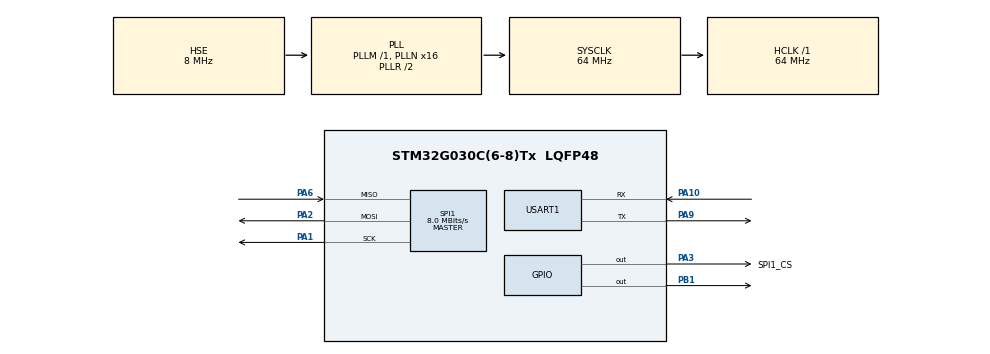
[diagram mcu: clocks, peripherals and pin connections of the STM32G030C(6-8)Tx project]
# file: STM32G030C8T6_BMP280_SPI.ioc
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Mcu.Family=STM32G0
Mcu.Name=STM32G030C(6-8)Tx
Mcu.Package=LQFP48
PA1.Mode=Full_Duplex_Master
PA1.Signal=SPI1_SCK
PA10.Mode=Asynchronous
PA10.Signal=USART1_RX
PA13.Mode=Serial_Wire
PA13.Signal=SYS_SWDIO
PA14-BOOT0.Mode=Serial_Wire
PA14-BOOT0.Signal=SYS_SWCLK
PA2.Mode=Full_Duplex_Master
PA2.Signal=SPI1_MOSI
PA3.GPIO_Label=SPI1_CS
PA3.GPIO_Speed=GPIO_SPEED_FREQ_HIGH
PA3.PinState=GPIO_PIN_RESET
PA3.Signal=GPIO_Output
PA6.Mode=Full_Duplex_Master
PA6.Signal=SPI1_MISO
PA9.Mode=Asynchronous
PA9.Signal=USART1_TX
PB1.PinState=GPIO_PIN_SET
PB1.Signal=GPIO_Output
PF0-OSC_IN\ (PF0).Mode=HSE-External-Oscillator
PF0-OSC_IN\ (PF0).Signal=RCC_OSC_IN
PF1-OSC_OUT\ (PF1).Mode=HSE-External-Oscillator
PF1-OSC_OUT\ (PF1).Signal=RCC_OSC_OUT
ProjectManager.HeapSize=0x200
ProjectManager.StackSize=0x400
ProjectManager.TargetToolchain=Makefile
RCC.ADCFreq_Value=64000000
RCC.AHBFreq_Value=64000000
RCC.CortexFreq_Value=64000000
RCC.EXTERNAL_CLOCK_VALUE=12288000
RCC.HCLKFreq_Value=64000000
RCC.HSE_VALUE=8000000
RCC.HSI_VALUE=16000000
RCC.LSE_VALUE=32768
RCC.PLLN=16
RCC.PLLSourceVirtual=RCC_PLLSOURCE_HSE
RCC.SYSCLKFreq_VALUE=64000000
RCC.SYSCLKSource=RCC_SYSCLKSOURCE_PLLCLK
RCC.VCOOutputFreq_Value=128000000
SPI1.BaudRatePrescaler=SPI_BAUDRATEPRESCALER_8
SPI1.CalculateBaudRate=8.0 MBits/s
SPI1.Direction=SPI_DIRECTION_2LINES
SPI1.Mode=SPI_MODE_MASTER
SPI1.VirtualType=VM_MASTER
USART1.VirtualMode-Asynchronous=VM_ASYNC
board=custom

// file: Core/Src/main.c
/* USER CODE BEGIN Header */
/**
  ******************************************************************************
  * @file           : main.c
  * @brief          : Main program body
  ******************************************************************************
  * @attention
  *
  * Copyright (c) 2023 STMicroelectronics.
  * All rights reserved.
  *
  * This software is licensed under terms that can be found in the LICENSE file
  * in the root directory of this software component.
  * If no LICENSE file comes with this software, it is provided AS-IS.
  *
  ******************************************************************************
  */
/* USER CODE END Header */
#include "main.h"
#include "spi.h"
#include "usart.h"
#include "gpio.h"

/* USER CODE BEGIN Includes */
#include <stdio.h>
#include <bmp280_spi.h>
/* USER CODE END Includes */

/* USER CODE BEGIN PV */
uint8_t BMP280_ID=0;
uint8_t InitStatus=0;
double Pressure=0,Temperature=0,Height=0;
uint8_t status=0;
uint8_t Ctrl_Meas=0;
uint8_t Configer=0;
int32_t PressOrg=0,TempOrg=0;
/* USER CODE END PV */

void SystemClock_Config(void);

int main(void)
{

  /* MCU Configuration--------------------------------------------------------*/

  /* Reset of all peripherals, Initializes the Flash interface and the Systick. */
  HAL_Init();

  /* Configure the system clock */
  SystemClock_Config();

  /* Initialize all configured peripherals */
  MX_GPIO_Init();
  MX_SPI1_Init();
  MX_USART1_UART_Init();
  /* USER CODE BEGIN 2 */
  HAL_Delay(20);
  InitStatus = BMP280_Init(); //初始化传感器

  if(InitStatus==0){ //回报初始化状态
    printf("Initiliazed Success\n");
  }else{
    printf("Initiliazed Failure, Error Code is %d\n",InitStatus);
  }
  HAL_Delay(100); //等待一下
  BMP280_ID=BMP280_GetID(); //获取芯片ID
  printf("BMP280 ID: 0x%x\n", BMP280_ID);//串口打印ID

  /* USER CODE END 2 */

  /* Infinite loop */
  /* USER CODE BEGIN WHILE */
  while (1)
  {
    Pressure=BMP280_Get_Pressure(); //获取气压
    Temperature=BMP280_Get_Temperature(); //获取温度
    Height=BMP280_Get_Height(Pressure,Temperature); //获取高度
    printf("Pressure:%.2fPa, Temperature:%.4fC, Height:%.2fm\r\n",Pressure,Temperature,Height); //打印气压以及温度和高度
    HAL_Delay(5);
    /* USER CODE END WHILE */

  }
}

void SystemClock_Config(void)
{
  RCC_OscInitTypeDef RCC_OscInitStruct = {0};
  RCC_ClkInitTypeDef RCC_ClkInitStruct = {0};

  /** Configure the main internal regulator output voltage
  */
  HAL_PWREx_ControlVoltageScaling(PWR_REGULATOR_VOLTAGE_SCALE1);

  /** Initializes the RCC Oscillators according to the specified parameters
  * in the RCC_OscInitTypeDef structure.
  */
  RCC_OscInitStruct.OscillatorType = RCC_OSCILLATORTYPE_HSE;
  RCC_OscInitStruct.HSEState = RCC_HSE_ON;
  RCC_OscInitStruct.PLL.PLLState = RCC_PLL_ON;
  RCC_OscInitStruct.PLL.PLLSource = RCC_PLLSOURCE_HSE;
  RCC_OscInitStruct.PLL.PLLM = RCC_PLLM_DIV1;
  RCC_OscInitStruct.PLL.PLLN = 16;
  RCC_OscInitStruct.PLL.PLLP = RCC_PLLP_DIV2;
  RCC_OscInitStruct.PLL.PLLR = RCC_PLLR_DIV2;
  if (HAL_RCC_OscConfig(&RCC_OscInitStruct) != HAL_OK)
  {
    Error_Handler();
  }

  /** Initializes the CPU, AHB and APB buses clocks
  */
  RCC_ClkInitStruct.ClockType = RCC_CLOCKTYPE_HCLK|RCC_CLOCKTYPE_SYSCLK
                              |RCC_CLOCKTYPE_PCLK1;
  RCC_ClkInitStruct.SYSCLKSource = RCC_SYSCLKSOURCE_PLLCLK;
  RCC_ClkInitStruct.AHBCLKDivider = RCC_SYSCLK_DIV1;
  RCC_ClkInitStruct.APB1CLKDivider = RCC_HCLK_DIV1;

  if (HAL_RCC_ClockConfig(&RCC_ClkInitStruct, FLASH_LATENCY_2) != HAL_OK)
  {
    Error_Handler();
  }
}

void Error_Handler(void)
{
  __disable_irq();
  while (1)
  {
  }
}
